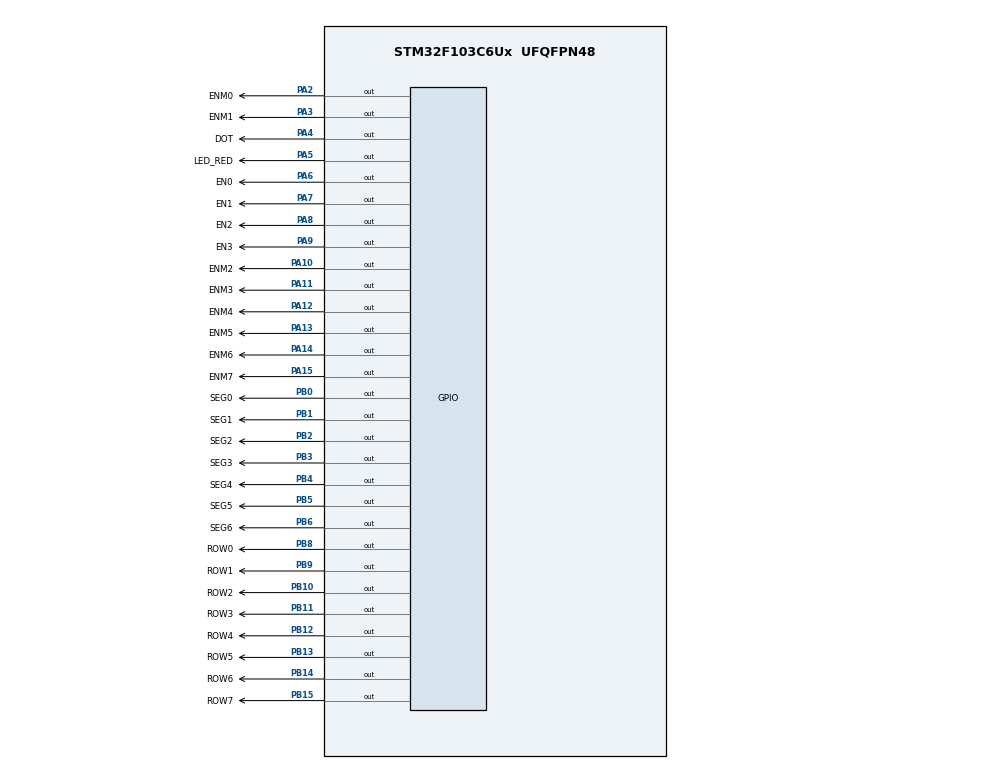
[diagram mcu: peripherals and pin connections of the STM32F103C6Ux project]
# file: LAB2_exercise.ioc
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Mcu.Family=STM32F1
Mcu.Name=STM32F103C6Ux
Mcu.Package=UFQFPN48
NVIC.PriorityGroup=NVIC_PRIORITYGROUP_4
NVIC.TIM2_IRQn=true\:0\:0\:false\:false\:true\:true\:true
PA10.GPIO_Label=ENM2
PA10.PinState=GPIO_PIN_SET
PA10.Signal=GPIO_Output
PA11.GPIO_Label=ENM3
PA11.PinState=GPIO_PIN_SET
PA11.Signal=GPIO_Output
PA12.GPIO_Label=ENM4
PA12.PinState=GPIO_PIN_SET
PA12.Signal=GPIO_Output
PA13.GPIO_Label=ENM5
PA13.PinState=GPIO_PIN_SET
PA13.Signal=GPIO_Output
PA14.GPIO_Label=ENM6
PA14.PinState=GPIO_PIN_SET
PA14.Signal=GPIO_Output
PA15.GPIO_Label=ENM7
PA15.PinState=GPIO_PIN_SET
PA15.Signal=GPIO_Output
PA2.GPIO_Label=ENM0
PA2.PinState=GPIO_PIN_SET
PA2.Signal=GPIO_Output
PA3.GPIO_Label=ENM1
PA3.PinState=GPIO_PIN_SET
PA3.Signal=GPIO_Output
PA4.GPIO_Label=DOT
PA4.Signal=GPIO_Output
PA5.GPIO_Label=LED_RED
PA5.PinState=GPIO_PIN_SET
PA5.Signal=GPIO_Output
PA6.GPIO_Label=EN0
PA6.PinState=GPIO_PIN_SET
PA6.Signal=GPIO_Output
PA7.GPIO_Label=EN1
PA7.PinState=GPIO_PIN_SET
PA7.Signal=GPIO_Output
PA8.GPIO_Label=EN2
PA8.PinState=GPIO_PIN_SET
PA8.Signal=GPIO_Output
PA9.GPIO_Label=EN3
PA9.PinState=GPIO_PIN_SET
PA9.Signal=GPIO_Output
PB0.GPIO_Label=SEG0
PB0.Signal=GPIO_Output
PB1.GPIO_Label=SEG1
PB1.Signal=GPIO_Output
PB10.GPIO_Label=ROW2
PB10.PinState=GPIO_PIN_SET
PB10.Signal=GPIO_Output
PB11.GPIO_Label=ROW3
PB11.PinState=GPIO_PIN_SET
PB11.Signal=GPIO_Output
PB12.GPIO_Label=ROW4
PB12.PinState=GPIO_PIN_SET
PB12.Signal=GPIO_Output
PB13.GPIO_Label=ROW5
PB13.PinState=GPIO_PIN_SET
PB13.Signal=GPIO_Output
PB14.GPIO_Label=ROW6
PB14.PinState=GPIO_PIN_SET
PB14.Signal=GPIO_Output
PB15.GPIO_Label=ROW7
PB15.PinState=GPIO_PIN_SET
PB15.Signal=GPIO_Output
PB2.GPIO_Label=SEG2
PB2.Signal=GPIO_Output
PB3.GPIO_Label=SEG3
PB3.Signal=GPIO_Output
PB4.GPIO_Label=SEG4
PB4.Signal=GPIO_Output
PB5.GPIO_Label=SEG5
PB5.Signal=GPIO_Output
PB6.GPIO_Label=SEG6
PB6.Signal=GPIO_Output
PB8.GPIO_Label=ROW0
PB8.PinState=GPIO_PIN_SET
PB8.Signal=GPIO_Output
PB9.GPIO_Label=ROW1
PB9.PinState=GPIO_PIN_SET
PB9.Signal=GPIO_Output
ProjectManager.HeapSize=0x200
ProjectManager.StackSize=0x400
ProjectManager.TargetToolchain=STM32CubeIDE
RCC.APB1Freq_Value=8000000
RCC.APB2Freq_Value=8000000
TIM2.Period=9
TIM2.Prescaler=7999
VP_SYS_VS_ND.Mode=No_Debug
VP_TIM2_VS_ClockSourceINT.Mode=Internal
board=custom

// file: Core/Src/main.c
/* USER CODE BEGIN Header */
/**
  ******************************************************************************
  * @file           : main.c
  * @brief          : Main program body
  ******************************************************************************
  * @attention
  *
  * <h2><center>&copy; Copyright (c) 2023 STMicroelectronics.
  * All rights reserved.</center></h2>
  *
  * This software component is licensed by ST under BSD 3-Clause license,
  * the "License"; You may not use this file except in compliance with the
  * License. You may obtain a copy of the License at:
  *                        opensource.org/licenses/BSD-3-Clause
  *
  ******************************************************************************
  */
/* USER CODE END Header */
#include "main.h"

/* USER CODE BEGIN Includes */
#include "software_timer.h"
#include "display7SEG.h"
/* USER CODE END Includes */

TIM_HandleTypeDef htim2;

void SystemClock_Config(void);
static void MX_TIM2_Init(void);
static void MX_GPIO_Init(void);

int main(void)
{

  /* MCU Configuration--------------------------------------------------------*/

  /* Reset of all peripherals, Initializes the Flash interface and the Systick. */
  HAL_Init();

  /* Configure the system clock */
  SystemClock_Config();

  /* Initialize all configured peripherals */
  MX_TIM2_Init();
  MX_GPIO_Init();
  /* USER CODE BEGIN 2 */
  HAL_TIM_Base_Start_IT(&htim2);

  setTimer1(25);
  setTimer2(100);

  const int MAX_LED = 4;
  int index_led=0;
  int led_buffer[4]={1,2,3,4};

  void update7SEG(int index){
	  clearSignal();
	  display7SEG(led_buffer[index]);
	  switch (index){
	  case 0:
		  HAL_GPIO_WritePin(EN0_GPIO_Port, EN0_Pin, RESET);
		  break;
	  case 1:
		  HAL_GPIO_WritePin(EN1_GPIO_Port, EN1_Pin, RESET);
		  break;
	  case 2:
		  HAL_GPIO_WritePin(EN2_GPIO_Port, EN2_Pin, RESET);
		  break;
	  case 3:
		  HAL_GPIO_WritePin(EN3_GPIO_Port, EN3_Pin, RESET);
		  break;
	  default:
		  break;
	  }
  }
  /* USER CODE END 2 */

  /* Infinite loop */
  /* USER CODE BEGIN WHILE */
  while (1)
  {
	  if (timer1_flag==1){
		  setTimer1(25);

		  HAL_GPIO_TogglePin(LED_RED_GPIO_Port, LED_RED_Pin);
		  update7SEG(index_led++);
		  if (index_led >= MAX_LED) index_led = 0;
	  }

	  if (timer2_flag==1){
	  		setTimer2(100);

	  		HAL_GPIO_TogglePin(DOT_GPIO_Port, DOT_Pin);
	  	}
    /* USER CODE END WHILE */

  }
}

void SystemClock_Config(void)
{
  RCC_OscInitTypeDef RCC_OscInitStruct = {0};
  RCC_ClkInitTypeDef RCC_ClkInitStruct = {0};

  /** Initializes the RCC Oscillators according to the specified parameters
  * in the RCC_OscInitTypeDef structure.
  */
  RCC_OscInitStruct.OscillatorType = RCC_OSCILLATORTYPE_HSI;
  RCC_OscInitStruct.HSIState = RCC_HSI_ON;
  RCC_OscInitStruct.HSICalibrationValue = RCC_HSICALIBRATION_DEFAULT;
  RCC_OscInitStruct.PLL.PLLState = RCC_PLL_NONE;
  if (HAL_RCC_OscConfig(&RCC_OscInitStruct) != HAL_OK)
  {
    Error_Handler();
  }
  /** Initializes the CPU, AHB and APB buses clocks
  */
  RCC_ClkInitStruct.ClockType = RCC_CLOCKTYPE_HCLK|RCC_CLOCKTYPE_SYSCLK
                              |RCC_CLOCKTYPE_PCLK1|RCC_CLOCKTYPE_PCLK2;
  RCC_ClkInitStruct.SYSCLKSource = RCC_SYSCLKSOURCE_HSI;
  RCC_ClkInitStruct.AHBCLKDivider = RCC_SYSCLK_DIV1;
  RCC_ClkInitStruct.APB1CLKDivider = RCC_HCLK_DIV1;
  RCC_ClkInitStruct.APB2CLKDivider = RCC_HCLK_DIV1;

  if (HAL_RCC_ClockConfig(&RCC_ClkInitStruct, FLASH_LATENCY_0) != HAL_OK)
  {
    Error_Handler();
  }
}

static void MX_TIM2_Init(void)
{

  TIM_ClockConfigTypeDef sClockSourceConfig = {0};
  TIM_MasterConfigTypeDef sMasterConfig = {0};

  htim2.Instance = TIM2;
  htim2.Init.Prescaler = 7999;
  htim2.Init.CounterMode = TIM_COUNTERMODE_UP;
  htim2.Init.Period = 9;
  htim2.Init.ClockDivision = TIM_CLOCKDIVISION_DIV1;
  htim2.Init.AutoReloadPreload = TIM_AUTORELOAD_PRELOAD_DISABLE;
  if (HAL_TIM_Base_Init(&htim2) != HAL_OK)
  {
    Error_Handler();
  }
  sClockSourceConfig.ClockSource = TIM_CLOCKSOURCE_INTERNAL;
  if (HAL_TIM_ConfigClockSource(&htim2, &sClockSourceConfig) != HAL_OK)
  {
    Error_Handler();
  }
  sMasterConfig.MasterOutputTrigger = TIM_TRGO_RESET;
  sMasterConfig.MasterSlaveMode = TIM_MASTERSLAVEMODE_DISABLE;
  if (HAL_TIMEx_MasterConfigSynchronization(&htim2, &sMasterConfig) != HAL_OK)
  {
    Error_Handler();
  }

}

static void MX_GPIO_Init(void)
{
  GPIO_InitTypeDef GPIO_InitStruct = {0};

  /* GPIO Ports Clock Enable */
  __HAL_RCC_GPIOA_CLK_ENABLE();
  __HAL_RCC_GPIOB_CLK_ENABLE();

  /*Configure GPIO pin Output Level */
  HAL_GPIO_WritePin(DOT_GPIO_Port, DOT_Pin, GPIO_PIN_RESET);

  /*Configure GPIO pin Output Level */
  HAL_GPIO_WritePin(GPIOA, LED_RED_Pin|EN0_Pin|EN1_Pin|EN2_Pin
                          |EN3_Pin, GPIO_PIN_SET);

  /*Configure GPIO pin Output Level */
  HAL_GPIO_WritePin(GPIOB, SEG0_Pin|SEG1_Pin|SEG2_Pin|SEG3_Pin
                          |SEG4_Pin|SEG5_Pin|SEG6_Pin, GPIO_PIN_RESET);

  /*Configure GPIO pins : DOT_Pin LED_RED_Pin EN0_Pin EN1_Pin
                           EN2_Pin EN3_Pin */
  GPIO_InitStruct.Pin = DOT_Pin|LED_RED_Pin|EN0_Pin|EN1_Pin
                          |EN2_Pin|EN3_Pin;
  GPIO_InitStruct.Mode = GPIO_MODE_OUTPUT_PP;
  GPIO_InitStruct.Pull = GPIO_NOPULL;
  GPIO_InitStruct.Speed = GPIO_SPEED_FREQ_LOW;
  HAL_GPIO_Init(GPIOA, &GPIO_InitStruct);

  /*Configure GPIO pins : SEG0_Pin SEG1_Pin SEG2_Pin SEG3_Pin
                           SEG4_Pin SEG5_Pin SEG6_Pin */
  GPIO_InitStruct.Pin = SEG0_Pin|SEG1_Pin|SEG2_Pin|SEG3_Pin
                          |SEG4_Pin|SEG5_Pin|SEG6_Pin;
  GPIO_InitStruct.Mode = GPIO_MODE_OUTPUT_PP;
  GPIO_InitStruct.Pull = GPIO_NOPULL;
  GPIO_InitStruct.Speed = GPIO_SPEED_FREQ_LOW;
  HAL_GPIO_Init(GPIOB, &GPIO_InitStruct);

}

/* USER CODE BEGIN 4 */
void HAL_TIM_PeriodElapsedCallback(TIM_HandleTypeDef *htim){
	timerRun();
}
/* USER CODE END 4 */

void Error_Handler(void)
{
  __disable_irq();
  while (1)
  {
  }
}

/************************ (C) COPYRIGHT STMicroelectronics *****END OF FILE****/
